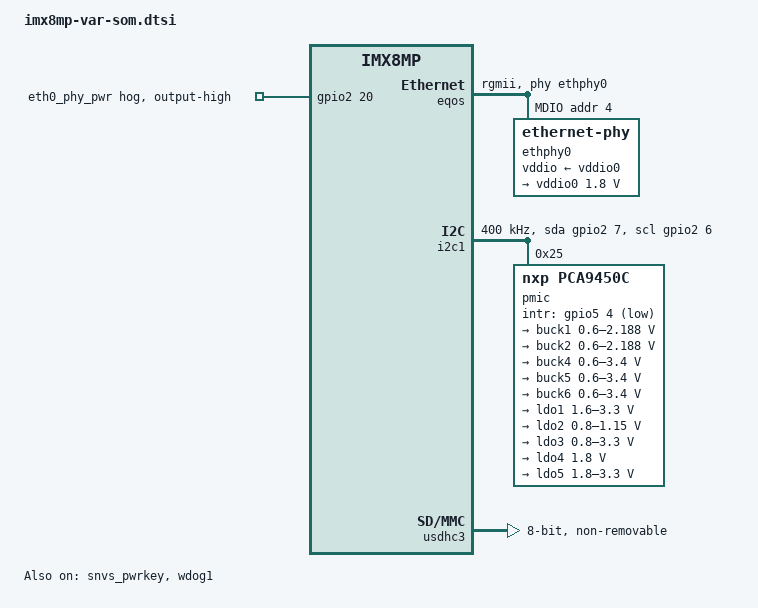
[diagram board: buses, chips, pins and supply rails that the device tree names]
// SPDX-License-Identifier: (GPL-2.0+ OR MIT)
/*
 * Copyright 2019 NXP
 * Copyright 2020-2022 Variscite Ltd.
 */

/dts-v1/;

#include <dt-bindings/usb/pd.h>
#include "imx8mp.dtsi"

/ {
	compatible = "variscite,imx8mp-var-som", "fsl,imx8mp";

	aliases {
		ethernet0 = &eqos;
		ethernet1 = &fec;
	};
};

&eqos {
	pinctrl-names = "default";
	pinctrl-0 = <&pinctrl_eqos>;
	phy-mode = "rgmii";
	phy-handle = <&ethphy0>;
	status = "okay";

	mdio {
		compatible = "snps,dwmac-mdio";
		#address-cells = <1>;
		#size-cells = <0>;

		ethphy0: ethernet-phy@4 {
			reg = <4>;
			qca,clk-out-frequency = <125000000>;
			qca,keep-pll-enabled;
			vddio-supply = <&vddio0>;

			vddio0: vddio-regulator {
				regulator-min-microvolt = <1800000>;
				regulator-max-microvolt = <1800000>;
			};
		};
	};
};

&i2c1 {
	clock-frequency = <400000>;
	pinctrl-names = "default", "gpio";
	pinctrl-0 = <&pinctrl_i2c1>;
	pinctrl-1 = <&pinctrl_i2c1_gpio>;
	scl-gpios = <&gpio2 6 GPIO_ACTIVE_HIGH>;
	sda-gpios = <&gpio2 7 GPIO_ACTIVE_HIGH>;
	status = "okay";

	pmic: pca9450@25 {
		reg = <0x25>;
		compatible = "nxp,pca9450c";
		/* PMIC PCA9450 PMIC_nINT GPIO5_IO4 */
		pinctrl-0 = <&pinctrl_pmic>;
		gpio_intr = <&gpio5 4 GPIO_ACTIVE_LOW>;
		status = "okay";

		regulators {
			#address-cells = <1>;
			#size-cells = <0>;

			buck1: BUCK1 {
				regulator-name = "BUCK1";
				regulator-min-microvolt = <600000>;
				regulator-max-microvolt = <2187500>;
				regulator-boot-on;
				regulator-always-on;
				regulator-ramp-delay = <3125>;
			};

			buck2: BUCK2 {
				regulator-name = "BUCK2";
				regulator-min-microvolt = <600000>;
				regulator-max-microvolt = <2187500>;
				regulator-boot-on;
				regulator-always-on;
				regulator-ramp-delay = <3125>;
				nxp,dvs-run-voltage = <950000>;
				nxp,dvs-standby-voltage = <850000>;
			};

			buck4: BUCK4 {
				regulator-name = "BUCK4";
				regulator-min-microvolt = <600000>;
				regulator-max-microvolt = <3400000>;
				regulator-boot-on;
				regulator-always-on;
			};

			buck5: BUCK5 {
				regulator-name = "BUCK5";
				regulator-min-microvolt = <600000>;
				regulator-max-microvolt = <3400000>;
				regulator-boot-on;
				regulator-always-on;
			};

			buck6: BUCK6 {
				regulator-name = "BUCK6";
				regulator-min-microvolt = <600000>;
				regulator-max-microvolt = <3400000>;
				regulator-boot-on;
				regulator-always-on;
			};

			ldo1: LDO1 {
				regulator-name = "LDO1";
				regulator-min-microvolt = <1600000>;
				regulator-max-microvolt = <3300000>;
				regulator-boot-on;
				regulator-always-on;
			};

			ldo2: LDO2 {
				regulator-name = "LDO2";
				regulator-min-microvolt = <800000>;
				regulator-max-microvolt = <1150000>;
				regulator-boot-on;
				regulator-always-on;
			};

			ldo3: LDO3 {
				regulator-name = "LDO3";
				regulator-min-microvolt = <800000>;
				regulator-max-microvolt = <3300000>;
				regulator-boot-on;
				regulator-always-on;
			};

			ldo4: LDO4 {
				regulator-name = "LDO4";
				regulator-min-microvolt = <1800000>;
				regulator-max-microvolt = <1800000>;
				regulator-always-on;
			};

			ldo5: LDO5 {
				regulator-name = "LDO5";
				regulator-min-microvolt = <1800000>;
				regulator-max-microvolt = <3300000>;
			};
		};
	};
};

&snvs_pwrkey {
	status = "okay";
};

&usdhc3 {
	pinctrl-names = "default", "state_100mhz", "state_200mhz";
	pinctrl-0 = <&pinctrl_usdhc3>;
	pinctrl-1 = <&pinctrl_usdhc3_100mhz>;
	pinctrl-2 = <&pinctrl_usdhc3_200mhz>;
	bus-width = <8>;
	non-removable;
	status = "okay";
};

&wdog1 {
	pinctrl-names = "default";
	pinctrl-0 = <&pinctrl_wdog>;
	fsl,ext-reset-output;
	status = "okay";
};

&gpio2 {
	eth0_phy_pwr_hog {
		gpio-hog;
		gpios = <20 0>;
		output-high;
		line-name = "eth0_phy_pwr";
	};
};

&iomuxc {
	pinctrl_eqos: eqosgrp {
		fsl,pins = <
			MX8MP_IOMUXC_ENET_MDC__ENET_QOS_MDC				0x2
			MX8MP_IOMUXC_ENET_MDIO__ENET_QOS_MDIO				0x2
			MX8MP_IOMUXC_ENET_RD0__ENET_QOS_RGMII_RD0			0x90
			MX8MP_IOMUXC_ENET_RD1__ENET_QOS_RGMII_RD1			0x90
			MX8MP_IOMUXC_ENET_RD2__ENET_QOS_RGMII_RD2			0x90
			MX8MP_IOMUXC_ENET_RD3__ENET_QOS_RGMII_RD3			0x90
			MX8MP_IOMUXC_ENET_RXC__CCM_ENET_QOS_CLOCK_GENERATE_RX_CLK	0x90
			MX8MP_IOMUXC_ENET_RX_CTL__ENET_QOS_RGMII_RX_CTL			0x90
			MX8MP_IOMUXC_ENET_TD0__ENET_QOS_RGMII_TD0			0x16
			MX8MP_IOMUXC_ENET_TD1__ENET_QOS_RGMII_TD1			0x16
			MX8MP_IOMUXC_ENET_TD2__ENET_QOS_RGMII_TD2			0x16
			MX8MP_IOMUXC_ENET_TD3__ENET_QOS_RGMII_TD3			0x16
			MX8MP_IOMUXC_ENET_TX_CTL__ENET_QOS_RGMII_TX_CTL			0x16
			MX8MP_IOMUXC_ENET_TXC__CCM_ENET_QOS_CLOCK_GENERATE_TX_CLK	0x16
			MX8MP_IOMUXC_GPIO1_IO10__GPIO1_IO10				0x10
			MX8MP_IOMUXC_SD2_WP__GPIO2_IO20					0x10
		>;
	};

	pinctrl_i2c1: i2c1grp {
		fsl,pins = <
			MX8MP_IOMUXC_SD1_DATA4__I2C1_SCL				0x400001c2
			MX8MP_IOMUXC_SD1_DATA5__I2C1_SDA				0x400001c2
		>;
	};

	pinctrl_i2c1_gpio: i2c1-gpiogrp {
		fsl,pins = <
			MX8MP_IOMUXC_SD1_DATA4__GPIO2_IO06				0x1c2
			MX8MP_IOMUXC_SD1_DATA5__GPIO2_IO07				0x1c2
		>;
	};

	pinctrl_pmic: pmicgrp {
		fsl,pins = <
			MX8MP_IOMUXC_SPDIF_RX__GPIO5_IO04				0x1c0
		>;
	};

	pinctrl_usdhc3: usdhc3grp {
		fsl,pins = <
			MX8MP_IOMUXC_NAND_WE_B__USDHC3_CLK				0x190
			MX8MP_IOMUXC_NAND_WP_B__USDHC3_CMD				0x1d0
			MX8MP_IOMUXC_NAND_DATA04__USDHC3_DATA0				0x1d0
			MX8MP_IOMUXC_NAND_DATA05__USDHC3_DATA1				0x1d0
			MX8MP_IOMUXC_NAND_DATA06__USDHC3_DATA2				0x1d0
			MX8MP_IOMUXC_NAND_DATA07__USDHC3_DATA3				0x1d0
			MX8MP_IOMUXC_NAND_RE_B__USDHC3_DATA4				0x1d0
			MX8MP_IOMUXC_NAND_CE2_B__USDHC3_DATA5				0x1d0
			MX8MP_IOMUXC_NAND_CE3_B__USDHC3_DATA6				0x1d0
			MX8MP_IOMUXC_NAND_CLE__USDHC3_DATA7				0x1d0
			MX8MP_IOMUXC_NAND_CE1_B__USDHC3_STROBE				0x190
		>;
	};

	pinctrl_usdhc3_100mhz: usdhc3-100mhzgrp {
		fsl,pins = <
			MX8MP_IOMUXC_NAND_WE_B__USDHC3_CLK				0x194
			MX8MP_IOMUXC_NAND_WP_B__USDHC3_CMD				0x1d4
			MX8MP_IOMUXC_NAND_DATA04__USDHC3_DATA0				0x1d4
			MX8MP_IOMUXC_NAND_DATA05__USDHC3_DATA1				0x1d4
			MX8MP_IOMUXC_NAND_DATA06__USDHC3_DATA2				0x1d4
			MX8MP_IOMUXC_NAND_DATA07__USDHC3_DATA3				0x1d4
			MX8MP_IOMUXC_NAND_RE_B__USDHC3_DATA4				0x1d4
			MX8MP_IOMUXC_NAND_CE2_B__USDHC3_DATA5				0x1d4
			MX8MP_IOMUXC_NAND_CE3_B__USDHC3_DATA6				0x1d4
			MX8MP_IOMUXC_NAND_CLE__USDHC3_DATA7				0x1d4
			MX8MP_IOMUXC_NAND_CE1_B__USDHC3_STROBE				0x194
		>;
	};

	pinctrl_usdhc3_200mhz: usdhc3-200mhzgrp {
		fsl,pins = <
			MX8MP_IOMUXC_NAND_WE_B__USDHC3_CLK				0x196
			MX8MP_IOMUXC_NAND_WP_B__USDHC3_CMD				0x1d6
			MX8MP_IOMUXC_NAND_DATA04__USDHC3_DATA0				0x1d6
			MX8MP_IOMUXC_NAND_DATA05__USDHC3_DATA1				0x1d6
			MX8MP_IOMUXC_NAND_DATA06__USDHC3_DATA2				0x1d6
			MX8MP_IOMUXC_NAND_DATA07__USDHC3_DATA3				0x1d6
			MX8MP_IOMUXC_NAND_RE_B__USDHC3_DATA4				0x1d6
			MX8MP_IOMUXC_NAND_CE2_B__USDHC3_DATA5				0x1d6
			MX8MP_IOMUXC_NAND_CE3_B__USDHC3_DATA6				0x1d6
			MX8MP_IOMUXC_NAND_CLE__USDHC3_DATA7				0x1d6
			MX8MP_IOMUXC_NAND_CE1_B__USDHC3_STROBE				0x196
		>;
	};

	pinctrl_wdog: wdoggrp {
		fsl,pins = <
			MX8MP_IOMUXC_GPIO1_IO02__WDOG1_WDOG_B				0xc6
		>;
	};
};
